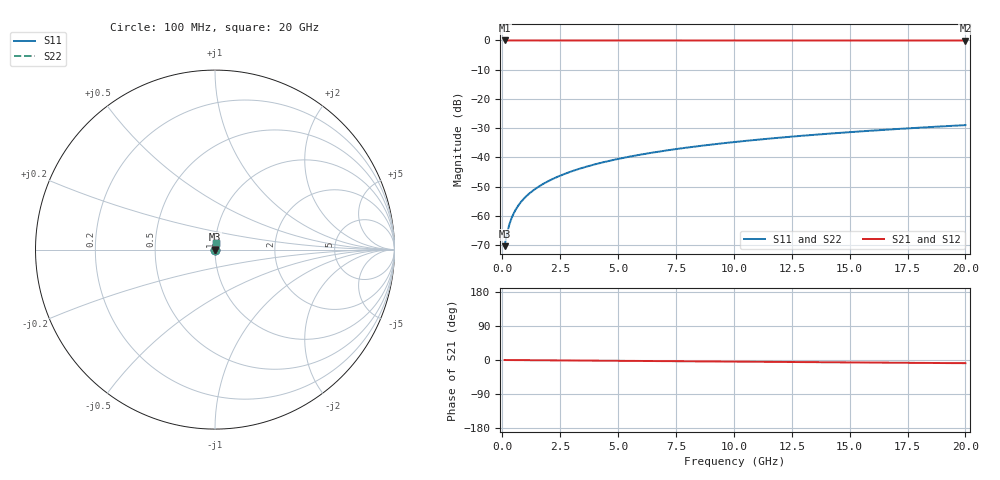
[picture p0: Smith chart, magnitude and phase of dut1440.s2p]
! Touchstone file exported from HFSS 2026.1.0
!  File:  C:/ffzhzh/LocalFiles/Ansys_Project_Files/temp_train_TSV_1440_1783197642_51560.aedt
!  Generated:  04:42:17 AM Jul  5, 2026
!  Design:  TSV
!  Project:  temp_train_TSV_1440_1783197642_51560
! Variables:
!  h_bsmrdl = 2um
!  h_ox = 20um
!  h_rdl = 5um
!  h_sub = 81.92um
!  h_tmrdl = 5um
!  h_tsv = 81.92um
!  h_via = 3um
!  l_bsmrdl = 300um
!  l_sub = 414.98um
!  l_tmrdl = 200um
!  m_sub = 200um
!  pitch = 41.48um
!  r_tsv = 7.49um
!  s_tmrdl = 10um
!  w_bsmrdl = 18um
!  w_sub = 500um
!  w_tmrdl = 12um
!  x_tsv_center1 = 206um
!  x_tsv_center2 = 524um
!  x_tsv_center3 = 736um
!  x_tsv_center4 = 1054um
!  x_tsv_center5 = 1266um
!  x_tsv_center6 = 1584um
# GHz S MA R 50.000000
! Terminal data exported
! Port[1] = TSV1_1_T1
! Port[2] = TSV1_1_T2
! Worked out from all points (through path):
!   200 points, 100 MHz to 20 GHz, reference 50 ohm
!   highest |S21| = 0.00 dB at 100 MHz (marker M1); lowest = 0.0 dB at 20 GHz (marker M2)
!   group delay of S21, straight-line fit = 1.17 ps
!   lowest |S11| = -70.4 dB at 100 MHz (marker M3), VSWR 1.00, Z = 50 + j0.0223 ohm
!   |S11| at or under -10 dB: start of sweep to end of sweep
!   |S22| runs from -70.4 to -29.0 dB; largest |S21 - S12| = 3e-15
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0.1  0.0003021 47.6  0.9998 -0.0  0.9998 -0.0  0.0003021 47.6
! Gamma 0 0 0 0
! Port Impedance 50 0 50 0
0.2  0.0004935 64.2  0.9998 -0.1  0.9998 -0.1  0.0004935 64.2
0.3  0.0007009 70.7  0.9998 -0.1  0.9998 -0.1  0.0007009 70.7
0.4  0.0009096 73.8  0.9997 -0.2  0.9997 -0.2  0.0009096 73.8
0.5  0.001115 75.6  0.9997 -0.2  0.9997 -0.2  0.001115 75.6
0.6  0.001318 76.7  0.9997 -0.3  0.9997 -0.3  0.001318 76.7
0.7  0.001516 77.5  0.9997 -0.3  0.9997 -0.3  0.001516 77.5
0.8  0.001711 78.1  0.9997 -0.4  0.9997 -0.4  0.001711 78.1
1  0.002092 79.0  0.9996 -0.4  0.9996 -0.4  0.002092 79.0
1.4  0.002838 80.3  0.9995 -0.6  0.9995 -0.6  0.002838 80.3
1.7  0.003391 81.0  0.9995 -0.7  0.9995 -0.7  0.003391 81.0
2  0.003942 81.5  0.9995 -0.9  0.9995 -0.9  0.003942 81.5
2.7  0.005224 82.3  0.9994 -1.2  0.9994 -1.2  0.005224 82.3
3.5  0.006683 82.8  0.9993 -1.5  0.9993 -1.5  0.006683 82.8
4.2  0.007951 82.9  0.9992 -1.8  0.9992 -1.8  0.007951 82.9
5  0.009391 83.0  0.9992 -2.1  0.9992 -2.1  0.009391 83.0
6.8  0.0126 82.8  0.999 -2.9  0.999 -2.9  0.0126 82.8
8.3  0.01525 82.6  0.9988 -3.5  0.9988 -3.5  0.01525 82.6
10.1  0.01842 82.2  0.9987 -4.3  0.9987 -4.3  0.01842 82.2
13.4  0.02419 81.2  0.9984 -5.7  0.9984 -5.7  0.02419 81.2
16.7  0.02992 80.1  0.9981 -7.1  0.9981 -7.1  0.02992 80.1
20  0.0356 79.0  0.9978 -8.4  0.9978 -8.4  0.0356 79.0
